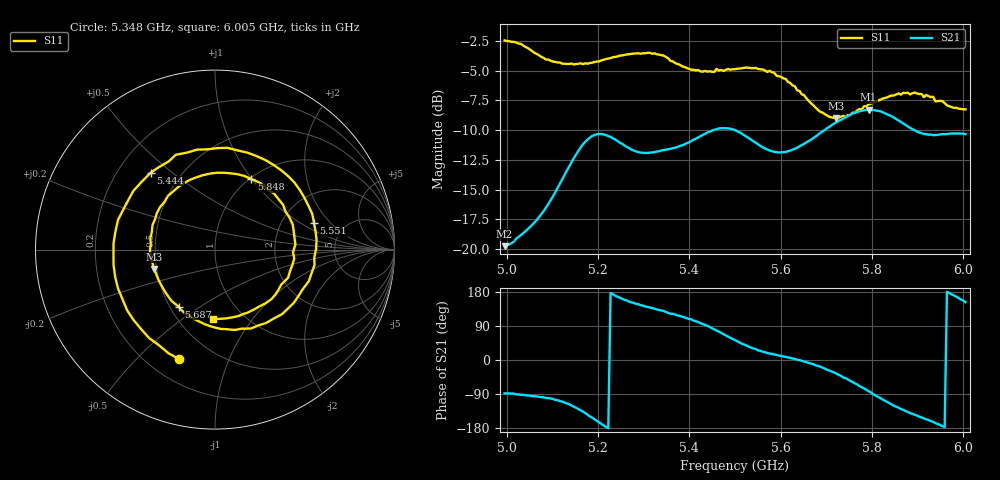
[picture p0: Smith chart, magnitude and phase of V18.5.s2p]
!File created by NanoVNA
# Hz S RI R 50
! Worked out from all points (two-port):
!   201 points, 4.995 GHz to 6.005 GHz, reference 50 ohm
!   highest |S21| = -8.28 dB at 5.793 GHz (marker M1); lowest = -19.8 dB at 4.995 GHz (marker M2)
!   |S21| within 3 dB of the highest: 5.384 GHz to 5.554 GHz (170.2 MHz wide, 3.11 % of centre); 5.645 GHz to end of sweep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
!   lowest |S11| = -9.0 dB at 5.722 GHz (marker M3), VSWR 2.10, Z = 24.2 - j5.96 ohm
!   |S11| at or under -10 dB: nowhere
!   S12 and S22 are empty: the file has one direction only
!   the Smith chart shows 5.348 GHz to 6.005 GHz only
!   S11 on the Smith chart (normalised r, x): 5.348 GHz: 0.32, -0.67; 5.444 GHz: 0.34, +0.42; 5.551 GHz: 3.03, +1.32; 5.687 GHz: 0.55, -0.41; 5.848 GHz: 1.02, +0.99; 6.005 GHz: 0.72, -0.66
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4.995e9  0.212 -0.7219  0.00361 -0.1028  0 0  0 0
5.03035e9  -0.3078 -0.6601  -0.00395 -0.1143  0 0  0 0
5.0758e9  -0.6357 -0.0829  -0.0197 -0.1392  0 0  0 0
5.1263e9  -0.341 0.494  -0.0767 -0.1896  0 0  0 0
5.1667e9  0.116 0.587  -0.1985 -0.1909  0 0  0 0
5.25255e9  0.6474 -0.0659  -0.2623 0.0889  0 0  0 0
5.2879e9  0.5138 -0.4214  -0.2152 0.1381  0 0  0 0
5.33335e9  0.0123 -0.6559  -0.1722 0.1918  0 0  0 0
5.3485e9  -0.1999 -0.6098  -0.1573 0.2093  0 0  0 0
5.399e9  -0.5651 -0.0877  -0.0875 0.2666  0 0  0 0
5.44445e9  -0.3581 0.429  0.0168 0.3111  0 0  0 0
5.5e9  0.2281 0.5222  0.1928 0.2504  0 0  0 0
5.5505e9  0.552 0.1465  0.2491 0.1179  0 0  0 0
5.6212e9  0.2845 -0.4089  0.2579 0.0262  0 0  0 0
5.6717e9  -0.1212 -0.3833  0.2878 -0.0559  0 0  0 0
5.68685e9  -0.2023 -0.3182  0.2928 -0.0925  0 0  0 0
5.7222e9  -0.3383 -0.1074  0.2766 -0.2002  0 0  0 0
5.7929e9  -0.2034 0.3502  0.0527 -0.3818  0 0  0 0
5.83835e9  0.1247 0.4202  -0.1469 -0.334  0 0  0 0
5.84845e9  0.2024 0.393  -0.1828 -0.3062  0 0  0 0
5.91915e9  0.4416 -0.0498  -0.2786 -0.1211  0 0  0 0
6.005e9  -0.0134 -0.3863  -0.2699 0.1398  0 0  0 0
